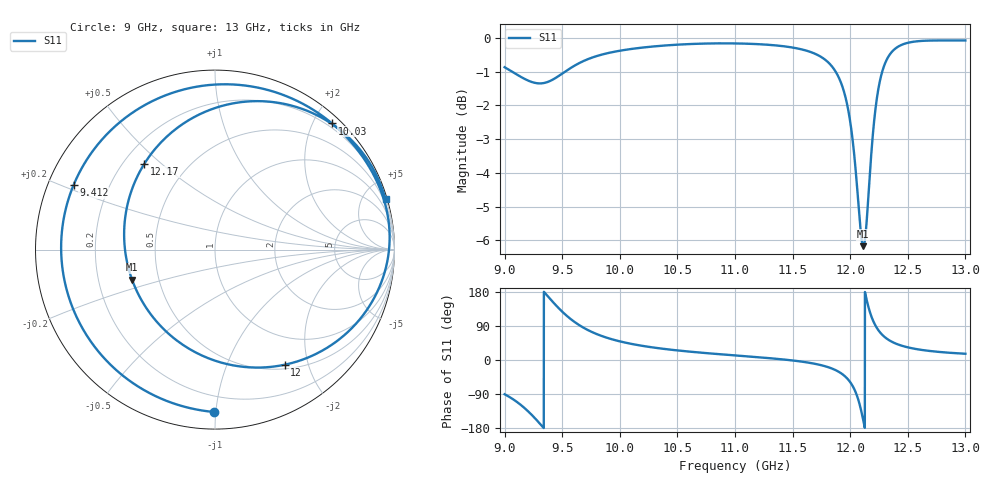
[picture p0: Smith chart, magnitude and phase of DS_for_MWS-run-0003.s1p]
! TOUCHSTONE file generated by CST DESIGN STUDIO
! Date and time: Tue Feb  4 16:29:37 2025
! Project name: C:\Work\MatlabApps\UnitCellOptimizationMatlab\CST\unitcell.cst
! Tree item: Tasks\Sweep1\SPara1\S-Parameters
! Header version: 2024
! Port assignment regex: !\s*Touchstone port\s*([0-9]+)\s*=\s*(CST MWS port|CST DES external port|CST DES block port)\s*(.+)\s* \(\"(.*)\"\)(\s*mode\s*([0-9]+))?.*
! Touchstone port assignment:
! Touchstone port 1 = CST DES external port 1 ("")
# GHz S MA R 50
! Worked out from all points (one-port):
!   4001 points, 9 GHz to 13 GHz, reference 50 ohm
!   lowest |S11| = -6.2 dB at 12.11 GHz (marker M1), VSWR 2.93, Z = 17.5 - j7.76 ohm
!   |S11| at or under -10 dB: nowhere
!   S11 on the Smith chart (normalised r, x): 9 GHz: 0.10, -0.99; 9.412 GHz: 0.08, +0.22; 10.03 GHz: 0.13, +2.29; 12 GHz: 0.56, -1.63; 12.17 GHz: 0.28, +0.44; 13 GHz: 0.22, +6.88
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9  0.9047 -90.4
9.107  0.8822 -110.7
9.197  0.8655 -133.4
9.312  0.8561 -170.0
9.412  0.8662 155.4
9.5  0.8852 127.6
9.58  0.9038 106.5
9.672  0.9218 87.5
9.822  0.9423 65.7
10  0.957 49.2
10.029  0.9588 47.1
10.5  0.977 25.3
11  0.9811 12.1
11.5  0.9675 -1.2
11.843  0.9066 -22.7
11.933  0.8462 -37.6
12  0.7515 -58.4
12.001  0.7496 -58.9
12.062  0.5947 -97.0
12.114  0.4915 -160.0
12.14  0.5269 162.6
12.168  0.6187 129.6
12.196  0.717 105.6
12.225  0.7987 87.8
12.31  0.9229 58.0
12.39  0.9636 44.1
12.5  0.9832 33.4
13  0.9911 16.5
